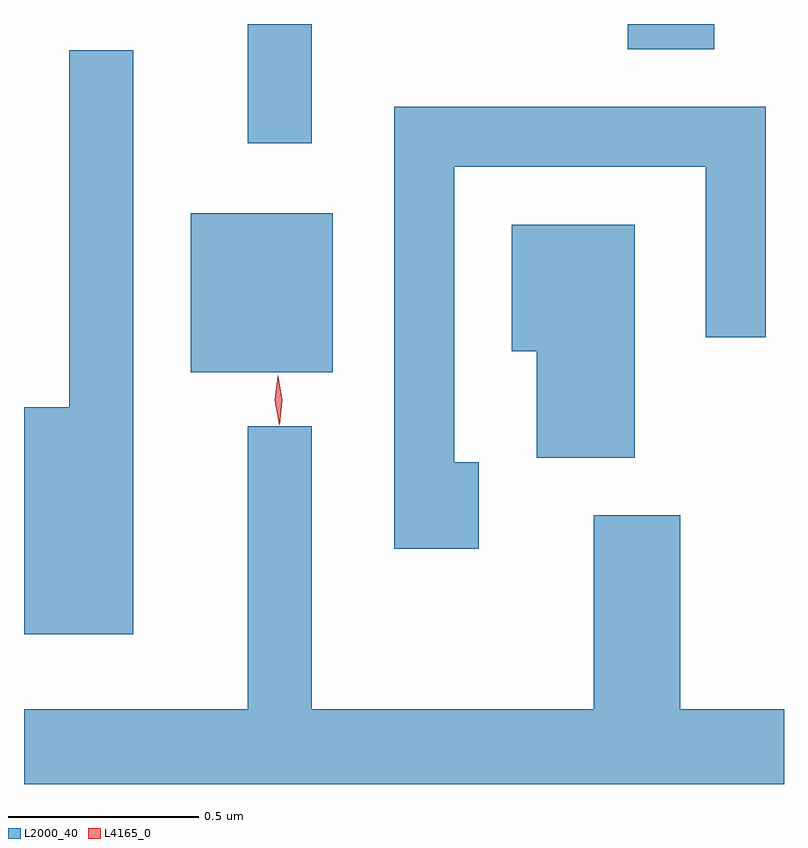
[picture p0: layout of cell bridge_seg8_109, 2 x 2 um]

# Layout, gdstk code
import gdstk
lib = gdstk.Library(unit=1e-6, precision=1e-09)
def R(c, l, rs):  # rectangles x0, y0, x1, y1
    for r in rs: c.add(gdstk.rectangle(r[:2], r[2:], *l))
def P(c, l, *ps):  # polygons
    for p in ps: c.add(gdstk.Polygon(p, *l))
L2000_40 = (2000, 40)
L4165_0 = (4165, 0)

bridge_seg8_109 = lib.new_cell('bridge_seg8_109')
R(bridge_seg8_109, L2000_40, [(1499.391,1844.231,1499.764,1844.649), (1499.541,1844.833,1499.709,1845.147), (1500.541,1845.081,1500.769,1845.147)])
P(bridge_seg8_109, L2000_40, [(1499.239,1845.078),(1499.071,1845.078),(1499.071,1844.139),(1498.952,1844.139),(1498.952,1843.541),(1499.239,1843.541)],
  [(1500.149,1843.994),(1500.084,1843.994),(1500.084,1844.771),(1500.746,1844.771),(1500.746,1844.323),(1500.904,1844.323),(1500.904,1844.929),(1499.926,1844.929),(1499.926,1843.766),(1500.149,1843.766)],
  [(1500.559,1844.619),(1500.236,1844.619),(1500.236,1844.286),(1500.301,1844.286),(1500.301,1844.006),(1500.559,1844.006)],
  [(1499.541,1844.088),(1499.541,1843.344),(1498.952,1843.344),(1498.952,1843.147),(1500.952,1843.147),(1500.952,1843.344),(1500.679,1843.344),(1500.679,1843.854),(1500.451,1843.854),(1500.451,1843.344),(1499.709,1843.344),(1499.709,1844.088)])
P(bridge_seg8_109, L4165_0, [(1499.624,1844.093),(1499.612,1844.157),(1499.62,1844.221),(1499.62,1844.222),(1499.621,1844.221),(1499.632,1844.157),(1499.625,1844.093),(1499.625,1844.093)])

lib.write_gds('bridge_seg8_109.gds')
